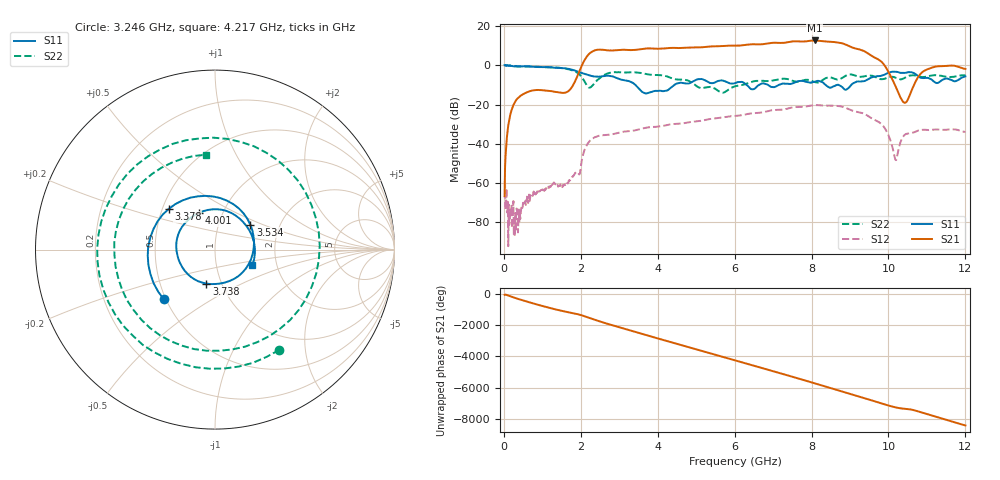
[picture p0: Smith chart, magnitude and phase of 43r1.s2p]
#  HZ  S  DB  R  50.00
! Rohde & Schwarz ZVA67 4Ports - Version 3.30 - 1305.7002k04 SN: 101038
! Date: 2022-09-30 01:22:13
! Measurements: S11 S21 S12 S22
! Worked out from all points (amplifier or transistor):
!   1000 points, 20 MHz to 12 GHz, reference 50 ohm
!   highest |S21| = 12.7 dB at 8.079 GHz (marker M1)
!   |S21| within 3 dB of that: 5.477 GHz to 8.988 GHz (3.512 GHz wide, 48.6 % of centre)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
!   unconditionally stable (mu >= 1): 43.97 MHz to 55.98 MHz; 94.06 MHz to 7.831 GHz; 8.477 GHz to end of sweep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
!   at 2.011 GHz: K = 77.94, MAG = 2.9 dB, |S12| = -50.4 dB
!   at 6.016 GHz: K = 2.48, MAG = 11.1 dB, |S12| = -25.8 dB
!   at 12 GHz: K = 15.68, MAG = 1.1 dB, |S12| = -34.0 dB
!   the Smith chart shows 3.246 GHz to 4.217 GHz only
!   S11 on the Smith chart (normalised r, x): 3.246 GHz: 0.49, -0.32; 3.378 GHz: 0.54, +0.28; 3.534 GHz: 1.42, +0.42; 3.738 GHz: 0.85, -0.33; 4.001 GHz: 0.78, +0.33; 4.217 GHz: 1.49, -0.27
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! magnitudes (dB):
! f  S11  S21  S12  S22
! 20 MHz  0.1  -66.8  -59.1  0.0
! 127.9 MHz  -0.2  -29.3  -71.0  -0.1
! 319.8 MHz  -0.5  -17.8  -75.6  -0.4
! 751.5 MHz  -0.7  -12.8  -66.6  -0.6
! 1.639 GHz  -1.6  -13.6  -60.0  -1.9
! 2.023 GHz  -3.9  -0.3  -48.9  -6.0
! 2.31 GHz  -5.5  7.2  -37.3  -10.2
! 3.246 GHz  -8.0  7.8  -33.6  -3.6
! 3.378 GHz  -9.3  7.8  -33.3  -3.6
! 3.534 GHz  -12.3  8.2  -32.6  -3.8
! 3.738 GHz  -14.2  8.6  -31.7  -4.6
! 4.001 GHz  -13.0  8.5  -31.3  -5.0
! 4.025 GHz  -13.0  8.5  -31.2  -5.0
! 4.217 GHz  -13.0  8.7  -30.6  -5.5
! 6.016 GHz  -9.1  10.0  -25.8  -10.7
! 8.019 GHz  -8.7  12.6  -20.4  -8.1
! 8.079 GHz  -8.4  12.7  -20.3  -8.5
! 10.01 GHz  -3.8  -3.7  -36.2  -6.0
! 10.19 GHz  -3.3  -10.9  -48.3  -6.4
! 10.43 GHz  -3.9  -19.1  -35.4  -6.3
! 10.94 GHz  -6.5  -2.6  -32.9  -5.9
! 12 GHz  -5.7  -1.8  -34.0  -5.1
